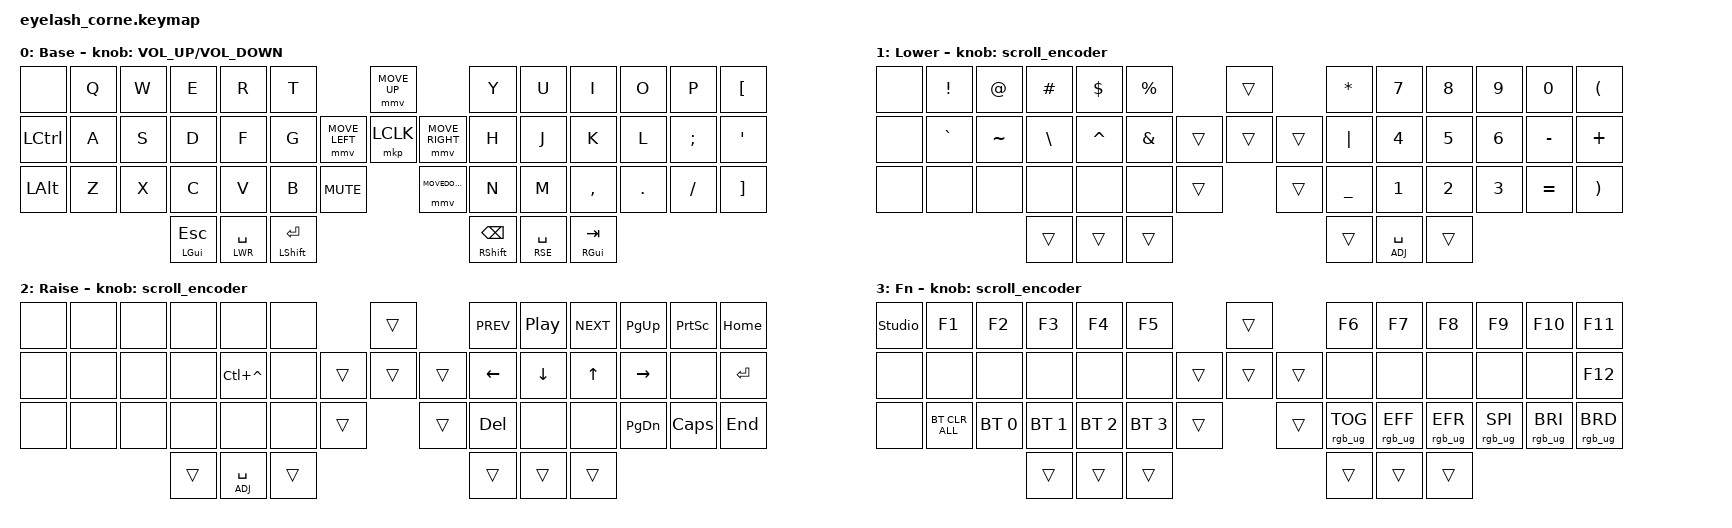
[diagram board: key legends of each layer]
#define ZMK_POINTING_DEFAULT_MOVE_VAL 1200  // 600
#define ZMK_POINTING_DEFAULT_SCRL_VAL 25   // 10

#include <input/processors.dtsi>
#include <zephyr/dt-bindings/input/input-event-codes.h>
#include <behaviors.dtsi>
#include <dt-bindings/zmk/bt.h>
#include <dt-bindings/zmk/keys.h>
#include <dt-bindings/zmk/pointing.h>
#include <dt-bindings/zmk/rgb.h>

#define DEF 0
#define LWR 1
#define RSE 2
#define ADJ 3

&mt { quick_tap_ms = <200>; };

&lt { quick_tap_ms = <200>; };

&mmv_input_listener { input-processors = <&zip_xy_scaler 2 1>; };

&msc_input_listener { input-processors = <&zip_scroll_scaler 2 1>; };

&msc {
    acceleration-exponent = <1>;      // 0
    time-to-max-speed-ms = <100>;       // 300
    delay-ms = <0>;                   // 0
};

&mmv {
    time-to-max-speed-ms = <500>;
    acceleration-exponent = <1>;
    trigger-period-ms = <16>;
};

&soft_off { hold-time-ms = <2000>; };

/ {
    rgb_encoder: rgb_encoder {
        compatible = "zmk,behavior-sensor-rotate";
        #sensor-binding-cells = <0>;
        bindings = <&rgb_ug RGB_BRI>, <&rgb_ug RGB_BRD>;
    };

    scroll_encoder: scroll_encoder {
        compatible = "zmk,behavior-sensor-rotate";
        #sensor-binding-cells = <0>;
        bindings = <&msc SCRL_DOWN>, <&msc SCRL_UP>;

        tap-ms = <100>;
    };

    combos {
        compatible = "zmk,combos";

        copy {
            bindings = <&kp LG(C)>;
            key-positions = <31 32>;
        };

        paste {
            bindings = <&kp LG(V)>;
            key-positions = <32 33>;
        };

        enter {
            bindings = <&kp ENTER>;
            key-positions = <23 24>;
        };

        command_vim {
            bindings = <&kp COLON>;
            key-positions = <16 17>;
        };

        undo {
            bindings = <&kp LG(Z)>;
            key-positions = <29 30>;
        };

        cut {
            bindings = <&kp LG(X)>;
            key-positions = <30 31>;
        };
    };

    behaviors {
        shret: shret {
            compatible = "zmk,behavior-hold-tap";
            #binding-cells = <2>;
            flavor = "hold-preferred";
            tapping-term-ms = <140>;
            bindings = <&kp>, <&kp>;
        };
    };

    keymap {
        compatible = "zmk,keymap";

        // NOTE: considering switching to web layout editor so the following representation might be ditched. currently stopped updating
        // the editor: https://nickcoutsos.github.io/keymap-editor/
        //
        // Base___________________________________________________________________________________________________________________________________________________________________
        //
        //             .----------------------------------------------------------------------.          .------------------------------------------------------------------------.
        //             |              |    Q    |    W   |     E     |     R     |      T     |          |     Y      |   U       |     I     |    O    |     P    |      [{      |
        //             |--------------+---------+--------+-----------+-----------+------------|          |------------+-----------+-----------+---------+----------+--------------|
        //             |     CTRL     |    A    |    S   |     D     |     F     |      G     |          |     H      |   J       |     K     |    L    |    : ;   |      '"      |
        //             |--------------+---------+--------+-----------+-----------+------------|          |------------+-----------+-----------+---------+----------+--------------|
        //             |     ALT      |    Z    |    X   |     C     |     V     |      B     |          |     N      |   M       |    , <    |   . >   |    / ?   |      ]}      |
        //             '---------------------------------+-----------+-----------+------------+          |------------+-----------+-----------+-----------------------------------'
        //                                               | GUI | ESC | LWR | SPC | SHFT | ENT |          | SHFT | BCK | RSE | SPC | GUI | TAB |
        //                                               '-----------+-----------+------------'          '------------+-----------+-----------'

        default_layer {
            display-name = "Base";
            bindings = <
&none      &kp Q  &kp W  &kp E         &kp R          &kp T                                           &mmv MOVE_UP                     &kp Y           &kp U          &kp I         &kp O    &kp P     &kp LBKT
&kp LCTRL  &kp A  &kp S  &kp D         &kp F          &kp G                           &mmv MOVE_LEFT  &mkp LCLK   &mmv MOVE_RIGHT      &kp H           &kp J          &kp K         &kp L    &kp SEMI  &kp SQT
&kp LALT   &kp Z  &kp X  &kp C         &kp V          &kp B             &kp C_MUTE                    &mmv MOVEDOWN                    &kp N           &kp M          &kp COMMA     &kp DOT  &kp FSLH  &kp RBKT
                         &mt LGUI ESC  &lt LWR SPACE  &shret LSHFT RET                                                                 &mt RSHFT BSPC  &lt RSE SPACE  &mt RGUI TAB
            >;

            sensor-bindings = <&inc_dec_kp C_VOLUME_UP C_VOLUME_DOWN>;
        };

        // Lower__________________________________________________________________________________________________________________________________________________________________
        //
        //             .----------------------------------------------------------------------.          .-----------------------------------------------------------------------.
        //             |              |    !    |   @    |    #      |    $      |    %       |          |     *      |    7      |     8     |    9    |    0     |     (       |
        //             |--------------+---------+--------+-----------+-----------+------------|          |------------+-----------+-----------+---------+----------+-------------|
        //             |              |    `    |   ~    |    \      |    ^      |    &       |          |     |      |    4      |     5     |    6    |    -     |     +       |
        //             |--------------+---------+--------+-----------+-----------+------------|          |------------+-----------+-----------+---------+----------+-------------|
        //             |              |         |        |           |           |            |          |     _      |    1      |     2     |    3    |    =     |     )       |
        //             '---------------------------------+-----------+-----------+------------'          |------------+-----------+-----------+----------------------------------'
        //                                               | GUI | ESC |           | SHFT | ENT |          | SHFT | BCK | ADJ | SPC | GUI | TAB |
        //                                               '-----------+-----------+------------'          '------------+-----------+-----------'

        lower_layer {
            display-name = "Lower";
            bindings = <
&none  &kp EXCL   &kp AT     &kp HASH  &kp DLLR   &kp PRCNT                    &trans             &kp STAR        &kp N7         &kp N8  &kp N9  &kp N0     &kp LPAR
&none  &kp GRAVE  &kp TILDE  &kp BSLH  &kp CARET  &kp AMPS             &trans  &trans  &trans     &kp PIPE        &kp N4         &kp N5  &kp N6  &kp MINUS  &kp PLUS
&none  &none      &none      &none     &none      &none      &trans            &trans             &kp UNDERSCORE  &kp N1         &kp N2  &kp N3  &kp EQUAL  &kp RPAR
                             &trans    &trans     &trans                                          &trans          &lt ADJ SPACE  &trans
            >;

            sensor-bindings = <&scroll_encoder>;
        };

        // Raise__________________________________________________________________________________________________________________________________________________________________
        //
        //             .----------------------------------------------------------------------.          .-----------------------------------------------------------------------.
        //             |              |         |        |           |           |            |          |    PREV    |   P/P     |    NEXT   |         |   PSCRN  |     HOME    |
        //             |--------------+---------+--------+-----------+-----------+------------|          |------------+-----------+-----------+---------+----------+-------------|
        //             |              |         |        |           |           |            |          |    LEFT    |  DOWN     |    UP     |  RIGHT  |          |     ENT     |
        //             |--------------+---------+--------+-----------+-----------+------------|          |------------+-----------+-----------+---------+----------+-------------|
        //             |              |         |        |           |           |            |          |    DEL→    |           |           |         |   CAPS   |     END     |
        //             '---------------------------------+-----------+-----------+------------'          |------------+-----------+-----------+----------------------------------'
        //                                               | GUI | ESC | ADJ | SPC | SHFT | ENT |          | SHFT | BCK |           | GUI | TAB |
        //                                               '-----------+-----------+------------'          '------------+-----------+-----------'

        raise_layer {
            display-name = "Raise";
            bindings = <
&none  &none  &none  &none   &none          &none                       &trans             &kp C_PREV  &kp C_PP  &kp C_NEXT  &kp PAGE_UP    &kp PSCRN  &kp HOME
&none  &none  &none  &none   &kp LC(CARET)  &none               &trans  &trans  &trans     &kp LEFT    &kp DOWN  &kp UP      &kp RIGHT      &none      &kp RET
&none  &none  &none  &none   &none          &none   &trans              &trans             &kp DEL     &none     &none       &kp PAGE_DOWN  &kp CAPS   &kp END
                     &trans  &lt ADJ SPACE  &trans                                         &trans      &trans    &trans
            >;

            sensor-bindings = <&scroll_encoder>;
        };

        // Functional__________________________________________________________________________________________________________________________________________________________
        //
        //              .--------------------------------------------------------------------.          .---------------------------------------------------------------------.
        //              |  STD UNLOCK  |    F1   |   F2   |    F3     |   F4    |    F5      |          |     F6     |   F7    |    F8     |   F9    |   F10    |     F11     |
        //              |--------------+---------+--------+-----------+---------+------------|          |------------+---------+-----------+---------+----------+-------------|
        //              |              |         |        |           |         |            |          |            |         |           |         |          |     F12     |
        //              |--------------+---------+--------+-----------+---------+------------|          |------------+---------+-----------+---------+----------+-------------|
        //              |   BT CLR     |         |   BO   |    B1     |   B2    |    B3      |          | RGB ON/OFF | EF_NEXT |  EF_PREV  |  EF_SPD |  BRI_UP  |   BRI_DOWN  |
        //              '---------------------------------+-----------+---------+------------+          |------------+---------+-----------+----------------------------------'
        //                                                |           |         |            |          |            |         |           |
        //                                                '-----------+---------+------------'          '------------+---------+-----------'

        layer_3 {
            display-name = "Fn";
            bindings = <
&studio_unlock  &kp F1          &kp F2        &kp F3        &kp F4        &kp F5                          &trans              &kp F6           &kp F7           &kp F8           &kp F9           &kp F10          &kp F11
&none           &none           &none         &none         &none         &none                   &trans  &trans    &trans    &none            &none            &none            &none            &none            &kp F12
&none           &bt BT_CLR_ALL  &bt BT_SEL 0  &bt BT_SEL 1  &bt BT_SEL 2  &bt BT_SEL 3  &trans            &trans              &rgb_ug RGB_TOG  &rgb_ug RGB_EFF  &rgb_ug RGB_EFR  &rgb_ug RGB_SPI  &rgb_ug RGB_BRI  &rgb_ug RGB_BRD
                                              &trans        &trans        &trans                                              &trans           &trans           &trans
            >;

            sensor-bindings = <&scroll_encoder>;
        };
    };
};
